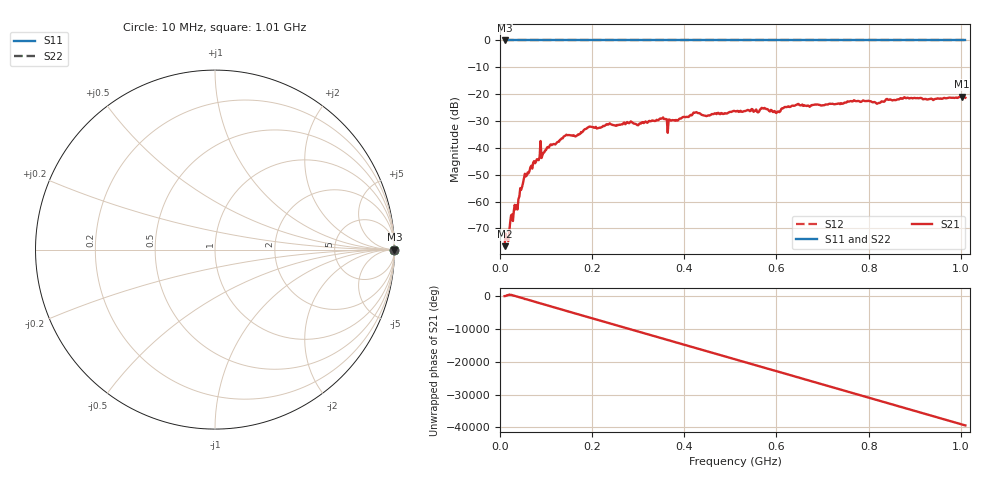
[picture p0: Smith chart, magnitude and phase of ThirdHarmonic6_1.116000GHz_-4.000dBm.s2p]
! 8/16/2025 10:40:27 AM
! C:\ANRITSUVNA\TEMP\TEMP.S2P
! CHANNEL.1
! TR.MEASUREMENT
! RAW.DATA
! RF.CORRECTION.OFF
! AVERAGING.OFF
! IF.BANDWIDTH: 5KHZ
! SWEEPTYPE:  FREQ.SWEEP(Linear)
! Reference Plane Port Info
! PORT:  PORT1  PORT2
! DISTANCE:  0  m  0  m
! TIME:  0  s  0  s
! PHASE.OFFSET:  0  deg.  0  deg.
! LOSS:  0  dB  0  dB
! REF.LOSS:  0  dB  0  dB
! REF.FREQ:  0  Hz  0  Hz
! Power Info
! POWER:  -20  dBm  -20  dBm
! EFF.POWER:  -20  dBm  -20  dBm
! SOURCE.ATTEN:  0  dB  0  dB
! TEST.ATTEN:  0  dB  0  dB
# GHZ S RI R 50.0
! FREQ.GHZ  S11RE  S11IM  S21RE  S21IM  S12RE  S12IM  S22RE  S22IM
!; PortSelection: Port_12
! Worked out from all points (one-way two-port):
!   501 points, 10 MHz to 1.01 GHz, reference 50 ohm
!   highest |S21| = -20.88 dB at 1.002 GHz (marker M1); lowest = -76.6 dB at 10 MHz (marker M2)
!   lowest |S11| = 0.0 dB at 10 MHz (marker M3)
!   |S11| at or under -10 dB: nowhere
!   |S22| runs from 0.0 to 0.0 dB; largest |S21 - S12| = 1.1
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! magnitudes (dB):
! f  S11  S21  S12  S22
! 10 MHz  0.0  -76.6  0.0  0.0
! 18 MHz  0.0  -74.7  0.0  0.0
! 28 MHz  0.0  -67.2  0.0  0.0
! 38 MHz  0.0  -62.9  0.0  0.0
! 52 MHz  0.0  -51.4  0.0  0.0
! 84 MHz  0.0  -44.6  0.0  0.0
! 142 MHz  0.0  -35.5  0.0  0.0
! 178 MHz  0.0  -34.2  0.0  0.0
! 194 MHz  0.0  -32.1  0.0  0.0
! 344 MHz  0.0  -29.7  0.0  0.0
! 368 MHz  0.0  -29.5  0.0  0.0
! 424 MHz  0.0  -26.8  0.0  0.0
! 450 MHz  0.0  -28.0  0.0  0.0
! 510 MHz  0.0  -26.3  0.0  0.0
! 572 MHz  0.0  -25.4  0.0  0.0
! 602 MHz  0.0  -26.5  0.0  0.0
! 644 MHz  0.0  -23.9  0.0  0.0
! 678 MHz  0.0  -24.1  0.0  0.0
! 820 MHz  0.0  -23.4  0.0  0.0
! 844 MHz  0.0  -22.1  0.0  0.0
! 1.002 GHz  0.0  -20.9  0.0  0.0
! 1.01 GHz  0.0  -21.3  0.0  0.0
